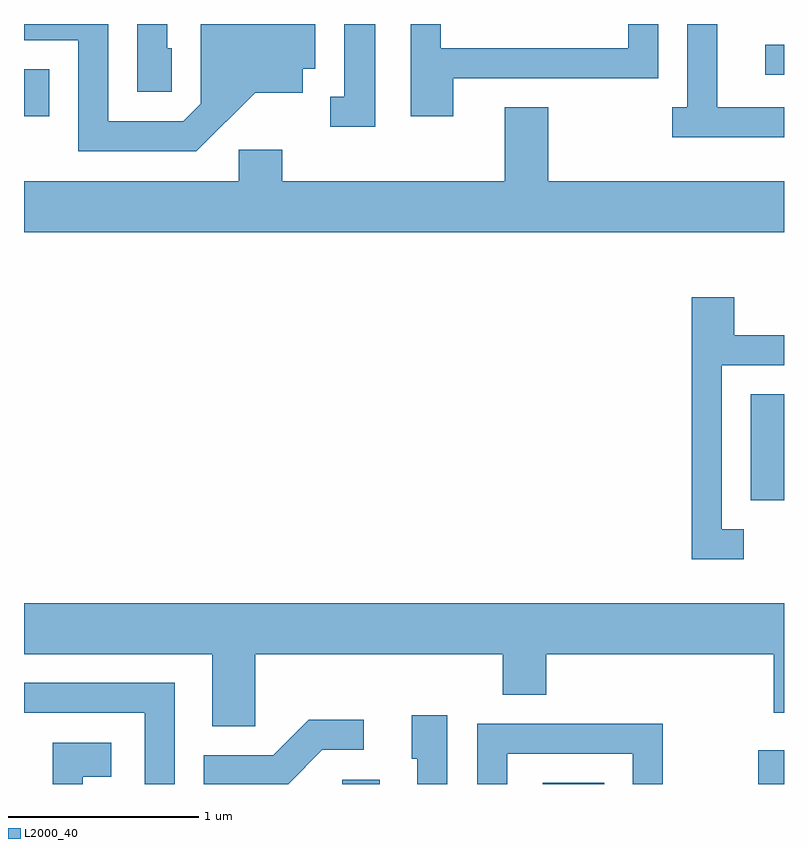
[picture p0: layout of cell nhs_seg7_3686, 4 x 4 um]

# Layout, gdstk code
import gdstk
lib = gdstk.Library(unit=1e-6, precision=1e-09)
def R(c, l, rs):  # rectangles x0, y0, x1, y1
    for r in rs: c.add(gdstk.rectangle(r[:2], r[2:], *l))
def P(c, l, *ps):  # polygons
    for p in ps: c.add(gdstk.Polygon(p, *l))
L2000_40 = (2000, 40)

nhs_seg7_3686 = lib.new_cell('nhs_seg7_3686')
R(nhs_seg7_3686, L2000_40, [(299.286,1760.252,299.484,1760.274), (300.341,1760.252,300.664,1760.259), (301.476,1760.252,301.611,1760.429), (301.436,1761.746,301.611,1762.304), (297.611,1763.766,297.744,1764.014), (301.513,1763.986,301.611,1764.144)])
P(nhs_seg7_3686, L2000_40, [(301.611,1763.814),(301.259,1763.814),(301.259,1764.252),(301.101,1764.252),(301.101,1763.814),(301.023,1763.814),(301.023,1763.656),(301.611,1763.656)],
  [(299.869,1763.966),(300.949,1763.966),(300.949,1764.252),(300.791,1764.252),(300.791,1764.124),(299.804,1764.124),(299.804,1764.252),(299.646,1764.252),(299.646,1763.766),(299.869,1763.766)],
  [(298.827,1763.891),(299.079,1763.891),(299.079,1764.016),(299.144,1764.016),(299.144,1764.252),(298.541,1764.252),(298.541,1763.832),(298.449,1763.739),(298.054,1763.739),(298.054,1764.252),(297.611,1764.252),(297.611,1764.166),(297.896,1764.166),(297.896,1763.581),(298.517,1763.581)],
  [(298.389,1764.124),(298.364,1764.124),(298.364,1764.252),(298.206,1764.252),(298.206,1763.896),(298.389,1763.896)],
  [(299.459,1764.252),(299.296,1764.252),(299.296,1763.869),(299.223,1763.869),(299.223,1763.711),(299.459,1763.711)],
  [(301.611,1763.424),(300.369,1763.424),(300.369,1763.814),(300.141,1763.814),(300.141,1763.424),(298.969,1763.424),(298.969,1763.589),(298.741,1763.589),(298.741,1763.424),(297.611,1763.424),(297.611,1763.156),(301.611,1763.156)],
  [(301.398,1761.594),(301.284,1761.594),(301.284,1762.456),(301.611,1762.456),(301.611,1762.614),(301.349,1762.614),(301.349,1762.814),(301.126,1762.814),(301.126,1761.436),(301.398,1761.436)],
  [(298.829,1760.936),(300.131,1760.936),(300.131,1760.721),(300.359,1760.721),(300.359,1760.936),(301.556,1760.936),(301.556,1760.626),(301.611,1760.626),(301.611,1761.204),(297.611,1761.204),(297.611,1760.936),(298.601,1760.936),(298.601,1760.556),(298.829,1760.556)],
  [(298.404,1760.784),(297.611,1760.784),(297.611,1760.626),(298.246,1760.626),(298.246,1760.252),(298.404,1760.252)],
  [(299.839,1760.614),(299.651,1760.614),(299.651,1760.386),(299.681,1760.386),(299.681,1760.252),(299.839,1760.252)],
  [(299.182,1760.431),(299.398,1760.431),(299.398,1760.589),(299.109,1760.589),(298.924,1760.404),(298.556,1760.404),(298.556,1760.252),(299.003,1760.252)],
  [(300.154,1760.411),(300.816,1760.411),(300.816,1760.252),(300.974,1760.252),(300.974,1760.569),(299.996,1760.569),(299.996,1760.252),(300.154,1760.252)],
  [(297.919,1760.291),(298.069,1760.291),(298.069,1760.469),(297.761,1760.469),(297.761,1760.252),(297.919,1760.252)])

lib.write_gds('nhs_seg7_3686.gds')
